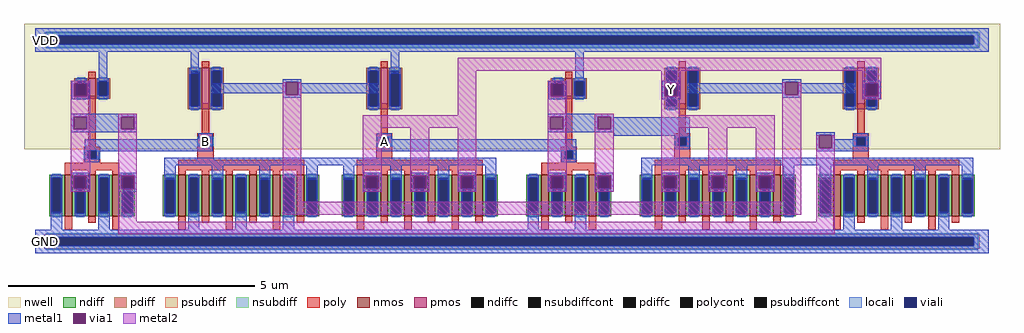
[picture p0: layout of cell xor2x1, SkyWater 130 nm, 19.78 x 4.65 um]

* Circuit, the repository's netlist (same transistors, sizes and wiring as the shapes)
** sch_path: /foss/designs/xor2x1.sch
.subckt xor2x1 A Y VDD GND B
*.PININFO A:I Y:O VDD:B GND:B B:I
XM2 Y A net1 GND sky130_fd_pr__nfet_01v8 L=0.15 W=5.04 nf=6
XM5 net3 A VDD VDD sky130_fd_pr__pfet_01v8 L=0.15 W=0.84 nf=1
XM9 Abar A GND GND sky130_fd_pr__nfet_01v8 L=0.15 W=2.52 nf=3
XM10 Abar A VDD VDD sky130_fd_pr__pfet_01v8 L=0.15 W=0.42 nf=1
XM6 Y Abar net3 VDD sky130_fd_pr__pfet_01v8 L=0.15 W=0.84 nf=1
XM8 Y Bbar net3 VDD sky130_fd_pr__pfet_01v8 L=0.15 W=0.84 nf=1
XM7 net3 B VDD VDD sky130_fd_pr__pfet_01v8 L=0.15 W=0.84 nf=1
XM1 net1 B GND GND sky130_fd_pr__nfet_01v8 L=0.15 W=5.04 nf=6
XM4 Y Abar net2 GND sky130_fd_pr__nfet_01v8 L=0.15 W=5.04 nf=6
XM3 net2 Bbar GND GND sky130_fd_pr__nfet_01v8 L=0.15 W=5.04 nf=6
XM12 Bbar B VDD VDD sky130_fd_pr__pfet_01v8 L=0.15 W=0.42 nf=1
XM11 Bbar B GND GND sky130_fd_pr__nfet_01v8 L=0.15 W=2.52 nf=3
.ends

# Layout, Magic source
magic
tech sky130A
magscale 1 2
<< nwell >>
rect -46 374 3910 882
<< psubdiff >>
rect 36 17 3828 29
rect 36 -17 60 17
rect 3804 -17 3828 17
rect 36 -29 3828 -17
<< nsubdiff >>
rect 36 833 3828 845
rect 36 799 60 833
rect 3804 799 3828 833
rect 36 787 3828 799
<< psubdiffcont >>
rect 60 -17 3804 17
<< nsubdiffcont >>
rect 60 799 3804 833
<< poly >>
rect 215 384 245 590
rect 675 438 705 560
rect 1399 438 1429 560
rect 657 422 723 438
rect 657 388 673 422
rect 707 388 723 422
rect 197 368 263 384
rect 197 334 213 368
rect 247 334 263 368
rect 197 318 263 334
rect 657 330 723 388
rect 1381 422 1447 438
rect 1381 388 1397 422
rect 1431 388 1447 422
rect 1381 330 1447 388
rect 2147 384 2177 590
rect 2607 438 2637 560
rect 3331 438 3361 560
rect 2589 422 2655 438
rect 2589 388 2605 422
rect 2639 388 2655 422
rect 2129 368 2195 384
rect 2129 334 2145 368
rect 2179 334 2195 368
rect 119 288 341 318
rect 579 288 1089 330
rect 1303 288 1813 330
rect 2129 318 2195 334
rect 2589 330 2655 388
rect 3313 422 3379 438
rect 3313 388 3329 422
rect 3363 388 3379 422
rect 3313 330 3379 388
rect 2051 288 2273 318
rect 2511 288 3021 330
rect 3235 288 3745 330
<< polycont >>
rect 673 388 707 422
rect 213 334 247 368
rect 1397 388 1431 422
rect 2605 388 2639 422
rect 2145 334 2179 368
rect 3329 388 3363 422
<< locali >>
rect 42 833 3822 849
rect 42 799 60 833
rect 3804 799 3822 833
rect 42 783 3822 799
rect 657 422 723 424
rect 657 388 673 422
rect 707 388 723 422
rect 657 386 723 388
rect 1381 422 1447 424
rect 1381 388 1397 422
rect 1431 388 1447 422
rect 1381 386 1447 388
rect 2589 422 2655 424
rect 2589 388 2605 422
rect 2639 388 2655 422
rect 2589 386 2655 388
rect 3313 422 3379 424
rect 3313 388 3329 422
rect 3363 388 3379 422
rect 3313 386 3379 388
rect 197 368 263 370
rect 197 334 213 368
rect 247 334 263 368
rect 197 332 263 334
rect 2129 368 2195 370
rect 2129 334 2145 368
rect 2179 334 2195 368
rect 2129 332 2195 334
rect 42 17 3822 33
rect 42 -17 60 17
rect 3804 -17 3822 17
rect 42 -33 3822 -17
<< viali >>
rect 60 799 3804 833
rect 673 388 707 422
rect 1397 388 1431 422
rect 2605 388 2639 422
rect 3329 388 3363 422
rect 213 334 247 368
rect 2145 334 2179 368
rect 60 -17 3804 17
<< metal1 >>
rect 0 833 3864 864
rect 0 799 60 833
rect 3804 799 3864 833
rect 0 768 3864 799
rect 148 640 220 652
rect 257 650 291 768
rect 629 680 663 768
rect 1441 680 1475 768
rect 1002 646 1078 658
rect 1002 640 1014 646
rect 148 588 158 640
rect 210 588 220 640
rect 711 600 1014 640
rect 148 576 220 588
rect 1002 594 1014 600
rect 1066 640 1078 646
rect 2080 640 2152 652
rect 2189 650 2223 768
rect 1066 600 1393 640
rect 1066 594 1078 600
rect 1002 582 1078 594
rect 2080 588 2090 640
rect 2142 588 2152 640
rect 2080 576 2152 588
rect 2542 640 2614 652
rect 3028 646 3104 658
rect 3028 640 3040 646
rect 2542 588 2552 640
rect 2604 588 2614 640
rect 2643 600 3040 640
rect 2542 576 2614 588
rect 3028 594 3040 600
rect 3092 640 3104 646
rect 3354 640 3426 652
rect 3092 600 3325 640
rect 3092 594 3104 600
rect 3028 582 3104 594
rect 3354 588 3364 640
rect 3416 588 3426 640
rect 3354 576 3426 588
rect 144 506 412 518
rect 144 454 156 506
rect 208 454 348 506
rect 400 454 412 506
rect 144 442 412 454
rect 2076 506 2344 518
rect 2076 454 2088 506
rect 2140 454 2280 506
rect 2332 504 2344 506
rect 2332 454 2652 504
rect 2076 442 2652 454
rect 660 422 720 438
rect 660 414 673 422
rect 200 388 673 414
rect 707 388 720 422
rect 200 368 720 388
rect 200 334 213 368
rect 247 366 720 368
rect 1384 422 1444 438
rect 2344 428 2652 442
rect 1384 388 1397 422
rect 1431 414 1444 422
rect 2592 422 2652 428
rect 1431 388 2192 414
rect 1384 368 2192 388
rect 2592 388 2605 422
rect 2639 388 2652 422
rect 2592 374 2652 388
rect 3165 430 3241 442
rect 3165 378 3177 430
rect 3229 414 3241 430
rect 3316 422 3376 438
rect 3316 414 3329 422
rect 3229 388 3329 414
rect 3363 388 3376 422
rect 3229 378 3376 388
rect 1384 366 2145 368
rect 247 334 260 366
rect 200 320 260 334
rect 523 308 1869 338
rect 2132 334 2145 366
rect 2179 334 2192 368
rect 3165 366 3376 378
rect 2132 320 2192 334
rect 144 266 220 278
rect 144 214 156 266
rect 208 214 220 266
rect 144 202 220 214
rect 336 266 412 278
rect 336 214 348 266
rect 400 214 412 266
rect 523 250 569 308
rect 715 250 761 308
rect 907 250 953 308
rect 1099 250 1145 308
rect 1247 250 1293 308
rect 1328 266 1404 278
rect 336 202 412 214
rect 1328 214 1340 266
rect 1392 214 1404 266
rect 1439 250 1485 308
rect 1520 266 1596 278
rect 1328 202 1404 214
rect 1520 214 1532 266
rect 1584 214 1596 266
rect 1631 250 1677 308
rect 1712 266 1788 278
rect 1520 202 1596 214
rect 1712 214 1724 266
rect 1776 214 1788 266
rect 1823 250 1869 308
rect 2455 308 3801 338
rect 2076 266 2152 278
rect 1712 202 1788 214
rect 2076 214 2088 266
rect 2140 214 2152 266
rect 2076 202 2152 214
rect 2268 266 2344 278
rect 2268 214 2280 266
rect 2332 214 2344 266
rect 2455 250 2501 308
rect 2536 266 2612 278
rect 2268 202 2344 214
rect 2536 214 2548 266
rect 2600 214 2612 266
rect 2647 250 2693 308
rect 2728 266 2804 278
rect 2536 202 2612 214
rect 2728 214 2740 266
rect 2792 214 2804 266
rect 2839 250 2885 308
rect 2920 266 2996 278
rect 2728 202 2804 214
rect 2920 214 2932 266
rect 2984 214 2996 266
rect 3031 250 3077 308
rect 3179 250 3225 308
rect 3371 250 3417 308
rect 3563 250 3609 308
rect 3755 250 3801 308
rect 2920 202 2996 214
rect 63 48 109 120
rect 255 48 301 120
rect 619 48 665 120
rect 811 48 857 120
rect 1003 48 1049 120
rect 1995 48 2041 120
rect 2187 48 2233 120
rect 3275 48 3321 120
rect 3467 48 3513 120
rect 3659 48 3705 120
rect 0 17 3864 48
rect 0 -17 60 17
rect 3804 -17 3864 17
rect 0 -48 3864 -17
<< via1 >>
rect 158 588 210 640
rect 1014 594 1066 646
rect 2090 588 2142 640
rect 2552 588 2604 640
rect 3040 594 3092 646
rect 3364 588 3416 640
rect 156 454 208 506
rect 348 454 400 506
rect 2088 454 2140 506
rect 2280 454 2332 506
rect 3177 378 3229 430
rect 156 214 208 266
rect 348 214 400 266
rect 1340 214 1392 266
rect 1532 214 1584 266
rect 1724 214 1776 266
rect 2088 214 2140 266
rect 2280 214 2332 266
rect 2548 214 2600 266
rect 2740 214 2792 266
rect 2932 214 2984 266
<< metal2 >>
rect 1712 692 3428 744
rect 144 640 222 652
rect 144 588 158 640
rect 210 588 222 640
rect 144 506 222 588
rect 1002 594 1014 646
rect 1066 594 1078 646
rect 144 454 156 506
rect 208 454 222 506
rect 144 266 222 454
rect 144 214 156 266
rect 208 214 222 266
rect 144 202 222 214
rect 336 506 412 518
rect 336 454 348 506
rect 400 454 412 506
rect 336 266 412 454
rect 336 214 348 266
rect 400 214 412 266
rect 336 80 412 214
rect 1002 160 1078 594
rect 1712 512 1788 692
rect 1328 460 1788 512
rect 1328 266 1404 460
rect 1328 214 1340 266
rect 1392 214 1404 266
rect 1328 202 1404 214
rect 1520 266 1596 460
rect 1520 214 1532 266
rect 1584 214 1596 266
rect 1520 202 1596 214
rect 1712 266 1788 460
rect 1712 214 1724 266
rect 1776 214 1788 266
rect 1712 202 1788 214
rect 2076 640 2154 652
rect 2076 588 2090 640
rect 2142 588 2154 640
rect 2076 506 2154 588
rect 2536 640 2616 692
rect 2536 588 2552 640
rect 2604 588 2616 640
rect 2536 576 2616 588
rect 3028 594 3040 646
rect 3092 594 3104 646
rect 2076 454 2088 506
rect 2140 454 2154 506
rect 2076 266 2154 454
rect 2076 214 2088 266
rect 2140 214 2154 266
rect 2076 202 2154 214
rect 2268 506 2344 518
rect 2268 454 2280 506
rect 2332 454 2344 506
rect 2268 266 2344 454
rect 2268 214 2280 266
rect 2332 214 2344 266
rect 2268 202 2344 214
rect 2536 512 2612 576
rect 2536 460 2996 512
rect 2536 266 2612 460
rect 2536 214 2548 266
rect 2600 214 2612 266
rect 2536 202 2612 214
rect 2728 266 2804 460
rect 2728 214 2740 266
rect 2792 214 2804 266
rect 2728 202 2804 214
rect 2920 266 2996 460
rect 2920 214 2932 266
rect 2984 214 2996 266
rect 2920 202 2996 214
rect 3028 160 3104 594
rect 3352 640 3428 692
rect 3352 588 3364 640
rect 3416 588 3428 640
rect 3352 576 3428 588
rect 1002 108 3104 160
rect 3165 378 3177 430
rect 3229 378 3241 430
rect 3165 80 3241 378
rect 336 28 3241 80
use sky130_fd_pr__nfet_01v8_6WXBLA  xn1
transform 1 0 834 0 1 186
box -317 -139 317 139
use sky130_fd_pr__nfet_01v8_6WXBLA  xn2
transform 1 0 1558 0 1 186
box -317 -139 317 139
use sky130_fd_pr__nfet_01v8_6WXBLA  xn3
transform 1 0 3490 0 1 186
box -317 -139 317 139
use sky130_fd_pr__nfet_01v8_6WXBLA  xn4
transform 1 0 2766 0 1 186
box -317 -139 317 139
use sky130_fd_pr__nfet_01v8_RPKUUV  xnia
transform 1 0 2162 0 1 186
box -173 -139 173 139
use sky130_fd_pr__nfet_01v8_RPKUUV  xnib
transform 1 0 230 0 1 186
box -173 -139 173 139
use sky130_fd_pr__pfet_01v8_W5J8BK  xp5
transform 1 0 1414 0 1 620
box -109 -146 109 146
use sky130_fd_pr__pfet_01v8_W5J8BK  xp6
transform 1 0 2622 0 1 620
box -109 -146 109 146
use sky130_fd_pr__pfet_01v8_W5J8BK  xp7
transform 1 0 690 0 1 620
box -109 -146 109 146
use sky130_fd_pr__pfet_01v8_W5J8BK  xp8
transform 1 0 3346 0 1 620
box -109 -146 109 146
use sky130_fd_pr__pfet_01v8_YNU6YZ  xpia
transform 1 0 2162 0 1 620
box -109 -104 109 104
use sky130_fd_pr__pfet_01v8_YNU6YZ  xpib
transform 1 0 230 0 1 620
box -109 -104 109 104
<< labels >>
rlabel metal1 660 374 720 438 0 B
port 1 nsew
rlabel metal1 1384 374 1444 438 0 A
port 2 nsew
rlabel metal1 2542 576 2614 652 0 Y
port 3 nsew
rlabel metal1 10 780 70 852 0 VDD
port 4 nsew
rlabel metal1 10 -36 70 36 0 GND
port 5 nsew
<< properties >>
string FIXED_BBOX 0 0 3864 816
<< end >>

# cell sky130_fd_pr__nfet_01v8_6WXBLA: kit device sky130_fd_pr__nfet_01v8, w 0.84 l 0.15 m 1 nf 6 diffcov 100 polycov 100 guard 0 glc 1 grc 1 gtc 1 gbc 1 tbcov 100 rlcov 100 topc 0 botc 0 poverlap 0 doverlap 1 lmin 0.15 wmin 0.42 class mosfet compatible {sky130_fd_pr__nfet_01v8 sky130_fd_pr__nfet_01v8_lvt sky130_fd_bs_flash__special_sonosfet_star sky130_fd_pr__nfet_g5v0d10v5 sky130_fd_pr__nfet_05v0_nvt sky130_fd_pr__nfet_03v3_nvt} full_metal 1 conn_gates 0 viasrc 100 viadrn 100 viagate 100 viagb 0 viagr 0 viagl 0 viagt 0 doports 1

# cell sky130_fd_pr__nfet_01v8_RPKUUV: kit device sky130_fd_pr__nfet_01v8, w 0.84 l 0.15 m 1 nf 3 diffcov 100 polycov 100 guard 0 glc 1 grc 1 gtc 1 gbc 1 tbcov 100 rlcov 100 topc 0 botc 0 poverlap 0 doverlap 1 lmin 0.15 wmin 0.42 class mosfet compatible {sky130_fd_pr__nfet_01v8 sky130_fd_pr__nfet_01v8_lvt sky130_fd_bs_flash__special_sonosfet_star sky130_fd_pr__nfet_g5v0d10v5 sky130_fd_pr__nfet_05v0_nvt sky130_fd_pr__nfet_03v3_nvt} full_metal 1 conn_gates 0 viasrc 100 viadrn 100 viagate 100 viagb 0 viagr 0 viagl 0 viagt 0 doports 1

# cell sky130_fd_pr__pfet_01v8_W5J8BK: kit device sky130_fd_pr__pfet_01v8, w 0.84 l 0.15 m 1 nf 1 diffcov 100 polycov 100 guard 0 glc 1 grc 1 gtc 1 gbc 1 tbcov 100 rlcov 100 topc 0 botc 0 poverlap 0 doverlap 1 lmin 0.15 wmin 0.42 class mosfet compatible {sky130_fd_pr__pfet_01v8 sky130_fd_pr__pfet_01v8_lvt sky130_fd_pr__pfet_01v8_hvt sky130_fd_pr__pfet_g5v0d10v5} full_metal 1 conn_gates 0 viasrc 100 viadrn 100 viagate 100 viagb 0 viagr 0 viagl 0 viagt 0 doports 1

# cell sky130_fd_pr__pfet_01v8_YNU6YZ: kit device sky130_fd_pr__pfet_01v8, w 0.42 l 0.15 m 1 nf 1 diffcov 100 polycov 100 guard 0 glc 1 grc 1 gtc 1 gbc 1 tbcov 100 rlcov 100 topc 0 botc 0 poverlap 0 doverlap 1 lmin 0.15 wmin 0.42 class mosfet compatible {sky130_fd_pr__pfet_01v8 sky130_fd_pr__pfet_01v8_lvt sky130_fd_pr__pfet_01v8_hvt sky130_fd_pr__pfet_g5v0d10v5} full_metal 1 conn_gates 0 viasrc 100 viadrn 100 viagate 100 viagb 0 viagr 0 viagl 0 viagt 0 doports 1
